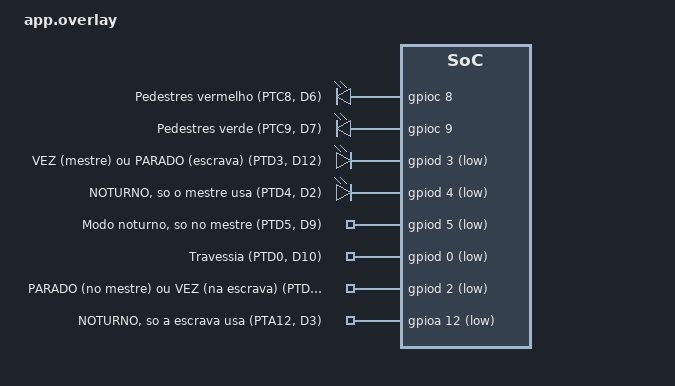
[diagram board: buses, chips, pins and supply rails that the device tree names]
/*
 * Pinos do semáforo. A fiação é a mesma nas duas placas (ver src/README.md).
 *
 * As entradas que precisam de interrupção ficam nas portas A e D: na KL25Z só
 * essas portas geram interrupção por pino.
 *
 * Sinais entre placas (VEZ, PARADO e NOTURNO) são ATIVOS EM NÍVEL BAIXO, com
 * pull-up na entrada: fio solto lê 3,3 V, que é 0 lógico, o estado seguro
 * (sem vez, escrava não parada, modo normal). Não dá para usar pull-down: a
 * KL25Z não tem pull-down interno nesses pinos. Medido no PTD2: pedindo
 * pull-down, o PCR continua 0x107, com o bit PS fixo em 1 (pull-up).
 */

#include <zephyr/dt-bindings/gpio/gpio.h>

/* Os LEDs de pedestres ficam na porta C, que vem desabilitada */
&gpioc {
	status = "okay";
};

/ {
	/*
	 * Saídas: LEDs de pedestres (acendem em nível alto) e sinais para a outra
	 * placa (ativos em nível baixo)
	 */
	saidas_semaforo {
		compatible = "gpio-leds";

		ped_vermelho: ped_vermelho {
			gpios = <&gpioc 8 GPIO_ACTIVE_HIGH>;
			label = "Pedestres vermelho (PTC8, D6)";
		};

		ped_verde: ped_verde {
			gpios = <&gpioc 9 GPIO_ACTIVE_HIGH>;
			label = "Pedestres verde (PTC9, D7)";
		};

		saida_enlace: saida_enlace {
			gpios = <&gpiod 3 GPIO_ACTIVE_LOW>;
			label = "VEZ (mestre) ou PARADO (escrava) (PTD3, D12)";
		};

		saida_noturno: saida_noturno {
			gpios = <&gpiod 4 GPIO_ACTIVE_LOW>;
			label = "NOTURNO, so o mestre usa (PTD4, D2)";
		};
	};

	/*
	 * Entradas: todas com pull-up e ativas em nível baixo. Os botões são fios
	 * encostados no GND; os sinais vêm da outra placa.
	 */
	entradas_semaforo {
		compatible = "gpio-keys";

		botao_noturno: botao_noturno {
			gpios = <&gpiod 5 (GPIO_ACTIVE_LOW | GPIO_PULL_UP)>;
			label = "Modo noturno, so no mestre (PTD5, D9)";
		};

		botao_travessia: botao_travessia {
			gpios = <&gpiod 0 (GPIO_ACTIVE_LOW | GPIO_PULL_UP)>;
			label = "Travessia (PTD0, D10)";
		};

		entrada_enlace: entrada_enlace {
			gpios = <&gpiod 2 (GPIO_ACTIVE_LOW | GPIO_PULL_UP)>;
			label = "PARADO (no mestre) ou VEZ (na escrava) (PTD2, D11)";
		};

		entrada_noturno: entrada_noturno {
			gpios = <&gpioa 12 (GPIO_ACTIVE_LOW | GPIO_PULL_UP)>;
			label = "NOTURNO, so a escrava usa (PTA12, D3)";
		};
	};
};
